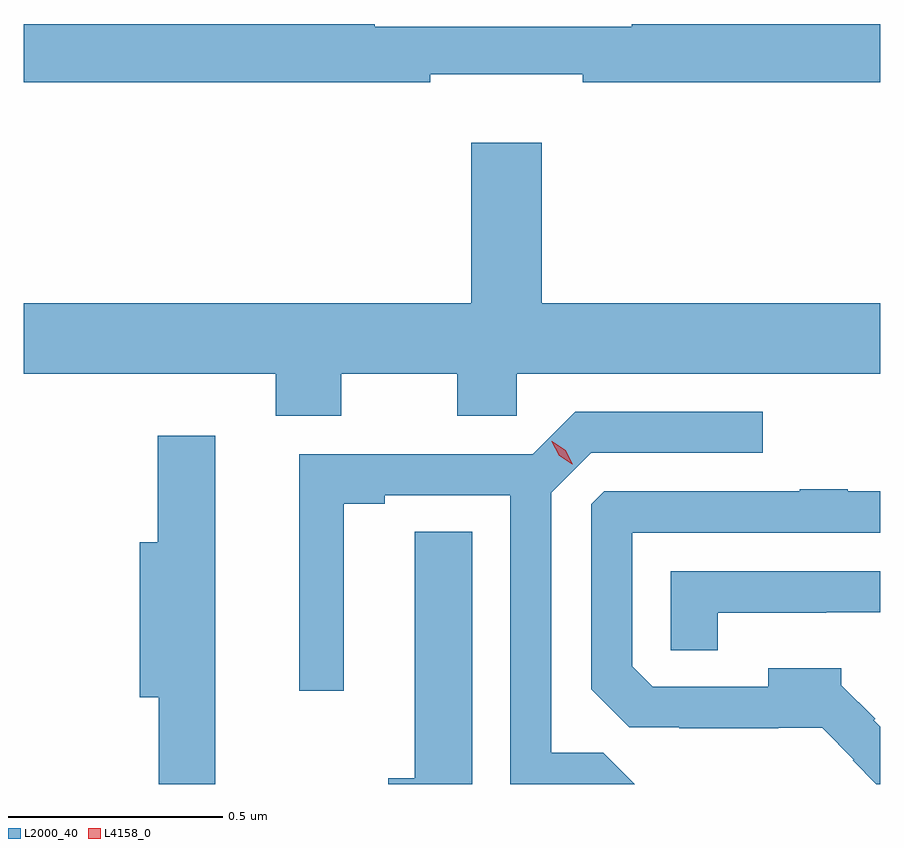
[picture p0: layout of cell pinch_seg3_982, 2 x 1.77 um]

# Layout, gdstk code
import gdstk
lib = gdstk.Library(unit=1e-6, precision=1e-09)
def P(c, l, *ps):  # polygons
    for p in ps: c.add(gdstk.Polygon(p, *l))
L2000_40 = (2000, 40)
L4158_0 = (4158, 0)

pinch_seg3_982 = lib.new_cell('pinch_seg3_982')
P(pinch_seg3_982, L2000_40, [(476.6,717.599),(476.956,717.599),(476.956,717.58),(477.651,717.58),(477.651,717.716),(477.071,717.716),(477.071,717.709),(476.471,717.709),(476.471,717.716),(475.651,717.716),(475.651,717.58),(476.6,717.58)],
  [(476.392,716.9),(476.663,716.9),(476.663,716.802),(476.802,716.802),(476.802,716.9),(477.651,716.9),(477.651,717.064),(476.86,717.064),(476.86,717.439),(476.696,717.439),(476.696,717.064),(475.651,717.064),(475.651,716.9),(476.24,716.9),(476.24,716.801),(476.392,716.801)],
  [(477.004,716.015),(476.883,716.015),(476.883,716.622),(476.976,716.715),(477.376,716.715),(477.376,716.811),(476.939,716.811),(476.84,716.712),(476.294,716.712),(476.294,716.16),(476.398,716.16),(476.398,716.596),(476.494,716.596),(476.494,716.616),(476.787,716.616),(476.787,715.942),(477.077,715.942)],
  [(476.098,716.755),(475.964,716.755),(475.964,716.506),(475.922,716.506),(475.922,716.144),(475.967,716.144),(475.967,715.942),(476.098,715.942)],
  [(477.651,716.076),(477.636,716.091),(477.639,716.094),(477.56,716.173),(477.56,716.212),(477.389,716.212),(477.389,716.169),(477.12,716.169),(477.072,716.217),(477.072,716.529),(477.651,716.529),(477.651,716.625),(477.575,716.625),(477.575,716.63),(477.463,716.63),(477.463,716.625),(477.006,716.625),(476.976,716.595),(476.976,716.163),(477.065,716.074),(477.181,716.074),(477.181,716.072),(477.413,716.072),(477.413,716.073),(477.515,716.073),(477.589,715.999),(477.587,715.997),(477.641,715.942),(477.651,715.942)],
  [(476.698,716.531),(476.564,716.531),(476.564,715.955),(476.502,715.955),(476.502,715.942),(476.698,715.942)],
  [(477.271,716.342),(477.525,716.342),(477.525,716.343),(477.651,716.343),(477.651,716.439),(477.162,716.439),(477.162,716.254),(477.271,716.254)])
P(pinch_seg3_982, L4158_0, [(476.932,716.688),(476.901,716.708),(476.884,716.741),(476.884,716.742),(476.885,716.742),(476.916,716.721),(476.933,716.688),(476.933,716.688)])

lib.write_gds('pinch_seg3_982.gds')
